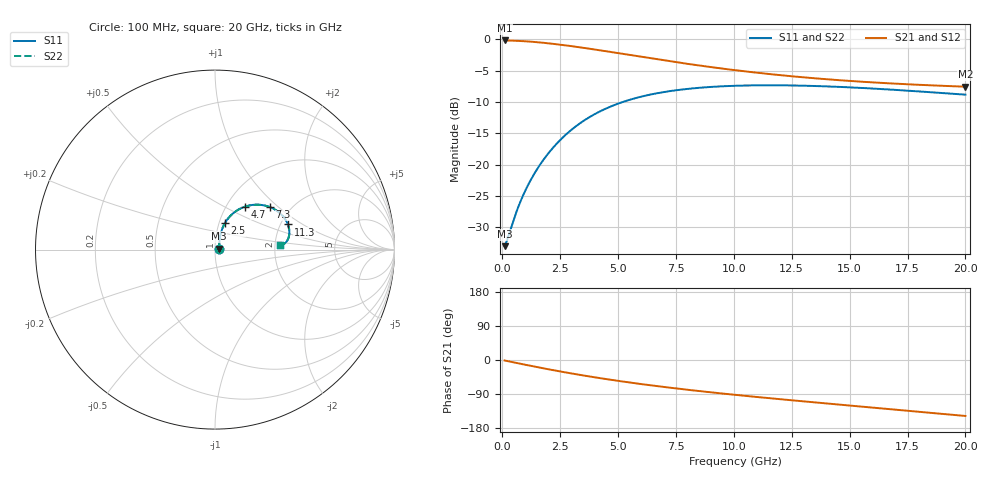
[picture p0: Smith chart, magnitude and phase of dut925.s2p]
! Touchstone file exported from HFSS 2024.1.0
!  File:  C:/UserFiles/LocalFiles/RDL_TSV_Batchsim/temp_RDL_TSV_925_1779959167.aedt
!  Generated:  05:24:28 PM May 28, 2026
!  Design:  RDL_TSV
!  Project:  temp_RDL_TSV_925_1779959167
!  Setup:  Setup1
!  Solution:  Sweep
! Variables:
!  dtsv = 5.78um
!  hbump = 3um
!  htsv = 74.61um
!  ldown = 526.35um
!  lrdl = 101.69um
!  p = 40
!  p1 = 47.45um
!  rhole = 10um
!  subl = 1985.81um
!  t = 450um
!  tdown = 2.78um
!  trdl = 4.5um
!  viad = 10um
!  wdown = 10.51um
!  wrdl = 23.57um
!  xbump = 18um
# GHz S MA R 50.000000
! Terminal data exported
! Port[1] = TM1_1_T1
! Port[2] = TM1_4_T1
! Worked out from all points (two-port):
!   200 points, 100 MHz to 20 GHz, reference 50 ohm
!   highest |S21| = -0.19 dB at 100 MHz (marker M1); lowest = -7.6 dB at 20 GHz (marker M2)
!   |S21| within 3 dB of the highest: start of sweep to 6.685 GHz
!   lowest |S11| = -33.0 dB at 100 MHz (marker M3), VSWR 1.05, Z = 52.2 + j0.613 ohm
!   |S11| at or under -10 dB: start of sweep to 5.202 GHz
!   |S22| runs from -33.0 to -7.3 dB; largest |S21 - S12| = 9.1e-15
!   S11 on the Smith chart (normalised r, x): 100 MHz: 1.04, +0.01; 2.5 GHz: 1.07, +0.32; 4.7 GHz: 1.22, +0.64; 7.3 GHz: 1.59, +0.88; 11.3 GHz: 2.19, +0.75; 20 GHz: 2.13, +0.12
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0.1  0.02243 15.2  0.9782 -1.3  0.9782 -1.3  0.02243 15.2
! Gamma 0 0 0 0
! Port Impedance 50 0 50 0
0.2  0.02483 28.0  0.9776 -2.6  0.9776 -2.6  0.02483 28.0
0.5  0.03682 50.9  0.9739 -6.4  0.9739 -6.4  0.03682 50.9
0.7  0.04655 58.6  0.9703 -8.9  0.9703 -8.9  0.04655 58.6
0.9  0.05704 63.5  0.9659 -11.4  0.9659 -11.4  0.05703 63.5
1.2  0.07393 67.9  0.9576 -15.1  0.9576 -15.1  0.07392 67.8
1.5  0.09197 70.0  0.9477 -18.7  0.9477 -18.7  0.09196 70.0
1.8  0.1109 70.8  0.9363 -22.2  0.9363 -22.2  0.1109 70.8
2.5  0.1573 69.5  0.9053 -30.2  0.9053 -30.2  0.1572 69.5
3  0.1907 67.0  0.8806 -35.6  0.8806 -35.6  0.1906 67.0
3.5  0.2231 63.8  0.8547 -40.8  0.8547 -40.8  0.223 63.8
4.1  0.2594 59.5  0.8229 -46.7  0.8229 -46.7  0.2593 59.5
4.7  0.292 55.1  0.7911 -52.3  0.7911 -52.3  0.2919 55.1
5.7  0.3374 47.9  0.7396 -61.1  0.7396 -61.1  0.3372 47.9
6.8  0.3746 40.6  0.6873 -69.8  0.6873 -69.8  0.3744 40.6
7.3  0.3876 37.6  0.6655 -73.5  0.6655 -73.5  0.3874 37.6
8.6  0.4117 30.5  0.6144 -82.6  0.6144 -82.6  0.4116 30.5
10.1  0.4261 23.6  0.5656 -92.2  0.5656 -92.2  0.4259 23.7
11.3  0.4298 19.0  0.5337 -99.4  0.5337 -99.4  0.4296 19.0
13.4  0.4247 12.5  0.4902 -111.4  0.4902 -111.4  0.4245 12.5
16.7  0.3978 5.9  0.4454 -129.4  0.4454 -129.4  0.3976 5.9
20  0.3618 3.9  0.4188 -147.7  0.4188 -147.7  0.3616 3.9
